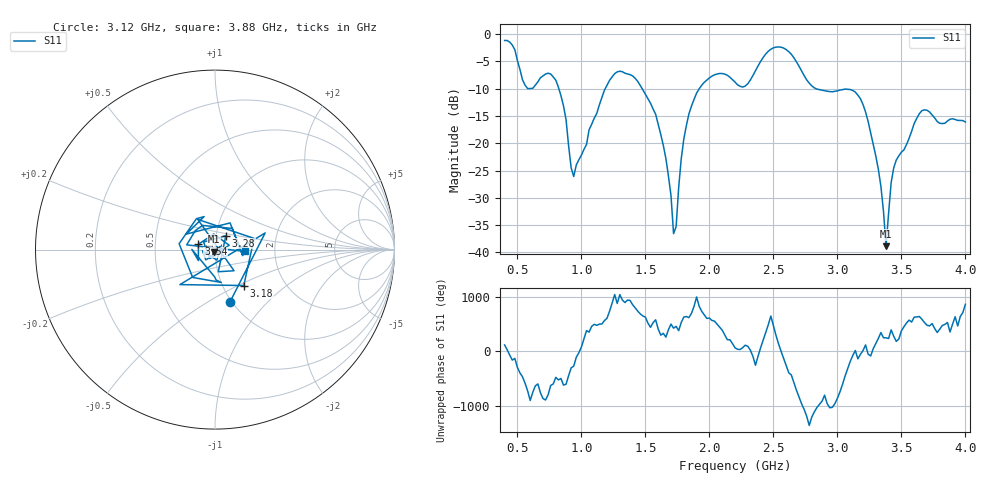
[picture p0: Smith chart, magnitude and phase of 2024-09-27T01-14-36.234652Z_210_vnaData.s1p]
!Created with skrf (http://scikit-rf.org).
# Hz S RI R 50.0
!freq ReS11 ImS11
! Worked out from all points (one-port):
!   181 points, 400 MHz to 4 GHz, reference 50 ohm
!   lowest |S11| = -38.9 dB at 3.38 GHz (marker M1), VSWR 1.02, Z = 49.6 - j1.06 ohm
!   |S11| at or under -10 dB: 823.9 MHz to 1.186 GHz (361.9 MHz wide, 36 % of centre); 1.475 GHz to 1.921 GHz (445.3 MHz wide, 26.2 % of centre); 2.834 GHz to end of sweep
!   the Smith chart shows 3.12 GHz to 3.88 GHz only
!   S11 on the Smith chart (normalised r, x): 3.12 GHz: 0.98, -0.63; 3.18 GHz: 1.25, -0.54; 3.28 GHz: 1.11, +0.17; 3.54 GHz: 0.83, +0.05; 3.88 GHz: 1.40, -0.03
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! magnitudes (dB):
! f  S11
! 400 MHz  -1.1
! 580 MHz  -10.0
! 760 MHz  -7.3
! 860 MHz  -13.1
! 940 MHz  -26.1
! 1.3 GHz  -6.8
! 1.58 GHz  -14.7
! 1.66 GHz  -22.8
! 1.72 GHz  -36.6
! 1.76 GHz  -28.1
! 1.82 GHz  -16.8
! 1.9 GHz  -10.8
! 2.2 GHz  -8.8
! 2.5 GHz  -2.5
! 2.66 GHz  -4.3
! 2.82 GHz  -9.8
! 3.1 GHz  -10.1
! 3.12 GHz  -10.3
! 3.18 GHz  -11.8
! 3.28 GHz  -20.2
! 3.34 GHz  -27.9
! 3.38 GHz  -38.9
! 3.44 GHz  -24.5
! 3.54 GHz  -20.2
! 3.56 GHz  -19.1
! 3.66 GHz  -14.0
! 3.88 GHz  -15.6
! 4 GHz  -16.1
